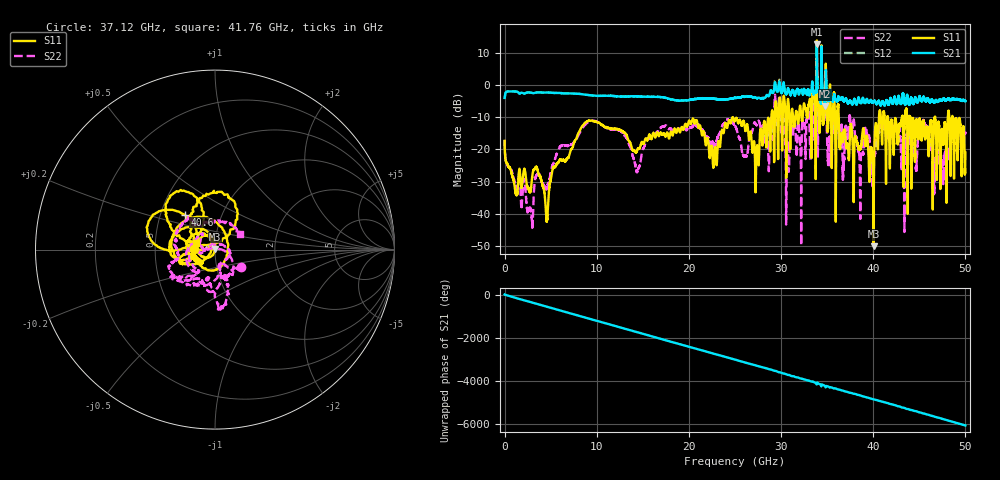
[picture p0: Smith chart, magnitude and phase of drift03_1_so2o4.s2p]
!Created with skrf (http://scikit-rf.org).
# Hz S RI R 50.0
!freq ReS11 ImS11 ReS21 ImS21 ReS12 ImS12 ReS22 ImS22
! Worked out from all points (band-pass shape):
!   10001 points, 300 kHz to 50 GHz, reference 50 ohm
!   highest |S21| = 12.75 dB at 33.88 GHz (marker M1); lowest = -6.6 dB at 34.79 GHz (marker M2)
!   |S21| within 3 dB of the highest: 33.87029 GHz to 33.89303 GHz (22.73 MHz wide, 0.0671 % of centre); 34.37655 GHz to 34.39415 GHz (17.6 MHz wide, 0.0512 % of centre)
!   lowest |S11| = -50.0 dB at 40.05 GHz (marker M3), VSWR 1.01, Z = 50 + j0.316 ohm
!   |S11| at or under -10 dB: start of sweep to 28.94 GHz; 36.26 GHz to 40.62 GHz (4.366 GHz wide, 11.4 % of centre); 44.02 GHz to 46.71 GHz (2.691 GHz wide, 5.93 % of centre) (the widest 3 of 41)
!   |S22| runs from -49.8 to 9.1 dB; largest |S21 - S12| = 0.73
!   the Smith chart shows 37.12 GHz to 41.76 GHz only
!   S11 on the Smith chart (normalised r, x): 37.12 GHz: 0.79, +0.01; 40.6 GHz: 0.66, +0.28; 41.76 GHz: 0.80, +0.06
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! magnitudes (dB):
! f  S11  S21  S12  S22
! 300 kHz  -17.3  -4.0  -4.1  -17.1
! 2.85 GHz  -32.4  -2.4  -2.4  -38.4
! 4.585 GHz  -41.8  -2.3  -2.3  -31.8
! 8.335 GHz  -13.1  -2.8  -2.8  -13.9
! 14.43 GHz  -20.0  -3.5  -3.5  -26.6
! 16.67 GHz  -15.5  -3.7  -3.7  -14.3
! 22.82 GHz  -19.3  -4.3  -4.3  -18.9
! 25 GHz  -11.0  -4.0  -4.0  -12.6
! 27.39 GHz  -19.1  -4.1  -4.1  -12.3
! 29.6 GHz  -10.4  -2.1  -2.2  -11.9
! 30.7 GHz  -5.8  -1.5  -1.6  -17.3
! 33.34 GHz  -12.9  -0.8  -0.8  -7.9
! 33.88 GHz  13.8  12.7  12.4  9.1
! 34.79 GHz  -3.3  -6.6  -5.2  -8.6
! 37.12 GHz  -18.8  -4.7  -4.7  -15.2
! 40.05 GHz  -50.0  -5.2  -5.3  -22.0
! 40.6 GHz  -11.8  -4.9  -4.9  -14.2
! 41.67 GHz  -12.5  -6.1  -6.1  -15.6
! 41.76 GHz  -18.8  -5.6  -5.5  -15.6
! 45.55 GHz  -14.2  -4.3  -4.3  -11.7
! 46.76 GHz  -11.6  -4.9  -4.8  -23.0
! 50 GHz  -21.0  -5.0  -5.0  -14.9
